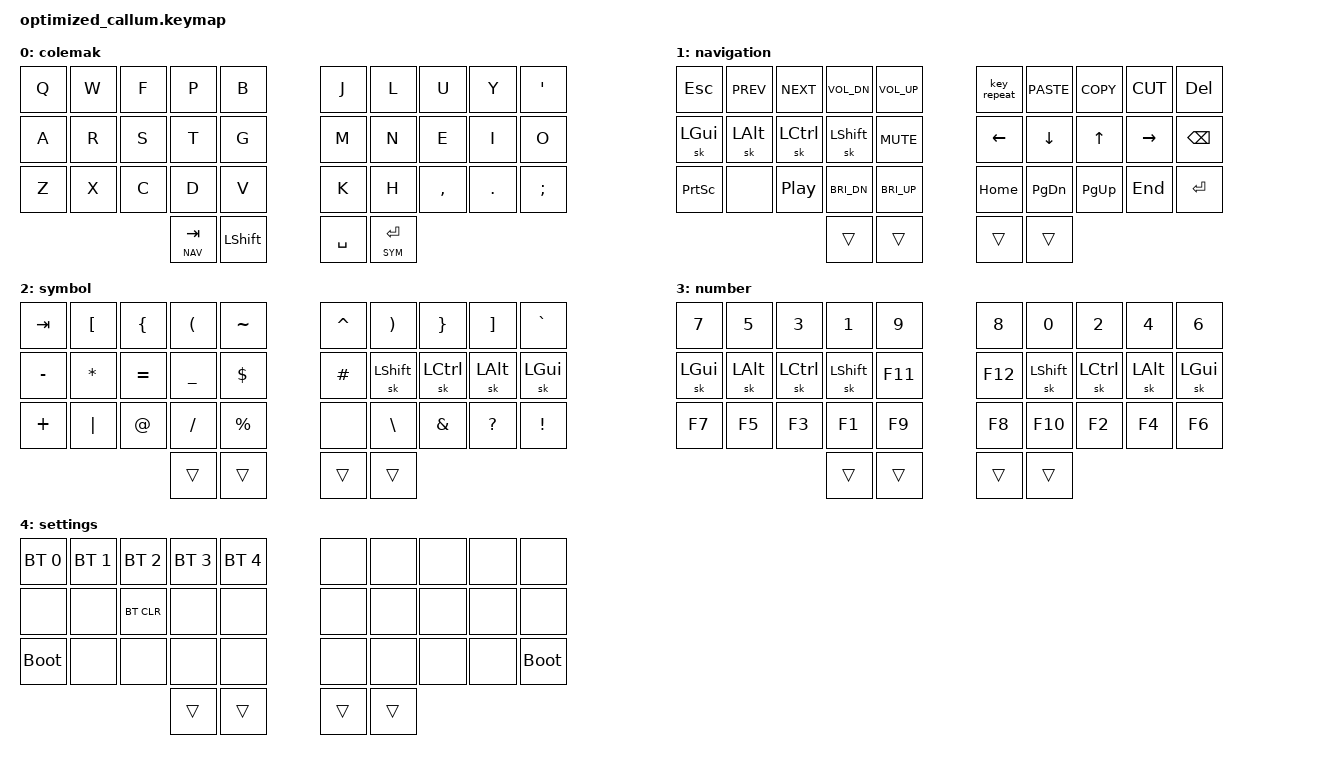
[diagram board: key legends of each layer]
#include <behaviors.dtsi>
#include <dt-bindings/zmk/keys.h>
#include <dt-bindings/zmk/bt.h>
#include <dt-bindings/zmk/outputs.h>

// Define layers
#define DEFAULT 0
#define NAV 1
#define SYM 2
#define NUM 3
#define SETTINGS 4

&sk {
    release-after-ms = <1700>;
};

/ {
    behaviors {
      lt: layer_tap {
            compatible = "zmk,behavior-hold-tap";
            #binding-cells = <2>;
            flavor = "hold-preferred";
            tapping-term-ms = <200>;
            bindings = <&mo>, <&kp>;
            quick-tap-ms = <0>;
            require-prior-idle-ms = <80>;
        };
    };

    combos {
        compatible = "zmk,combos";
        combo_esc {
            timeout-ms = <60>;
            key-positions = <31 32>;
            bindings = <&kp ESC>;
            layers = <0>;
            require-prior-idle-ms = <100>;
        };

        combo_capword{
            timeout-ms = <40>;
            key-positions = <13 16>;
            bindings = <&caps_word>;
            layers = <0>;
            require-prior-idle-ms = <100>;
        };

        combo_settings{
            timeout-ms = <40>;
            key-positions = <32 33>;
            bindings = <&mo SETTINGS>;
            require-prior-idle-ms = <100>;
        };
    };


    keymap {
        compatible = "zmk,keymap";
        colemak {
            bindings = <
                //╭──────────┬──────────┬──────────┬──────────┬──────────╮   ╭──────────┬──────────┬──────────┬──────────┬──────────╮
                //│    Q     │    W     │    F     │    P     │    B     │   │    J     │    L     │    U     │    Y     │    '     │
                    &kp Q      &kp W      &kp F      &kp P      &kp B          &kp J      &kp L     &kp U        &kp Y      &kp SQT 
                //├──────────┼──────────┼──────────┼──────────┼──────────┤   ├──────────┼──────────┼──────────┼──────────┼──────────┤
                //│    A     │    R     │    S     │    T     │    G     │   │    M     │    N     │    E     │    I     │    O     │
                    &kp A      &kp R      &kp S      &kp T      &kp G          &kp M       &kp N      &kp E      &kp I      &kp O
                //├──────────┼──────────┼──────────┼──────────┼──────────┤   ├──────────┼──────────┼──────────┼──────────┼──────────┤
                //│    Z     │    X     │    C     │    D     │    V     │   │    K     │    H     │ , <      │ . >      │    ;     │
                    &kp Z       &kp X      &kp C      &kp D      &kp V         &kp K      &kp H      &kp COMMA  &kp DOT    &kp SEMI
                //╰──────────┴──────────┴──────────┼──────────┼──────────┤   ├──────────┼──────────┼──────────┴──────────┴──────────╯
                                                   &lt NAV TAB &kp LSHFT      &kp SPACE &lt SYM ENTER 
                //                                 ╰──────────┴──────────╯   ╰──────────┴──────────╯
            >;
        };

        
        navigation{
            bindings = <
                //╭──────────┬──────────┬──────────┬──────────┬──────────╮   ╭──────────┬──────────┬──────────┬──────────┬──────────╮
                //│          │          │          │          │          │   │          │          │          │          │          │
                    &kp ESC  &kp C_PREV  &kp C_NEXT &kp C_VOL_DN &kp C_VOL_UP &key_repeat &kp K_PASTE &kp K_COPY &kp K_CUT &kp DEL
                //├──────────┼──────────┼──────────┼──────────┼──────────┤   ├──────────┼──────────┼──────────┼──────────┼──────────┤
                //│          │          │          │          │          │   │   left   │  down    │   up     │  right   │          │
                    &sk LGUI   &sk LALT   &sk LCTRL  &sk LSHFT &kp C_MUTE      &kp LEFT   &kp DOWN   &kp UP     &kp RIGHT  &kp BSPC
                //├──────────┼──────────┼──────────┼──────────┼──────────┤   ├──────────┼──────────┼──────────┼──────────┼──────────┤
                //│          │          │          │          │          │   │          │          │          │          │          │
                    &kp PSCRN   &none    &kp C_PP  &kp C_BRI_DN &kp C_BRI_UP &kp HOME  &kp PG_DN  &kp PG_UP   &kp END   &kp ENTER
                //╰──────────┴──────────┴──────────┼──────────┼──────────┤   ├──────────┼──────────┼──────────┴──────────┴──────────╯
                                                     &trans      &trans         &trans     &trans
            //                                     ╰──────────┴──────────╯   ╰──────────┴──────────╯
            >;
        };

        symbol{
            bindings = <
                //╭──────────┬──────────┬──────────┬──────────┬──────────╮   ╭──────────┬──────────┬──────────┬──────────┬──────────╮
                //│   TAB    │    [     │    {     │    (     │    ~     │   |    ^     │    )     │    }     │    ]     │    `
                    &kp TAB    &kp LBKT   &kp LBRC   &kp LPAR   &kp TILDE     &kp CARET   &kp RPAR   &kp RBRC   &kp RBKT   &kp GRAVE      
                //├──────────┼──────────┼──────────┼──────────┼──────────┤   ├──────────┼──────────┼──────────┼──────────┼──────────┤
                //│    -     │    *     │    =     │    _     │    $     │   │    #     │          │          │          │          │
                   &kp MINUS  &kp ASTRK   &kp EQUAL &kp UNDER  &kp DLLR       &kp HASH  &sk LSHFT  &sk LCTRL  &sk LALT   &sk LGUI
                //├──────────┼──────────┼──────────┼──────────┼──────────┤   ├──────────┼──────────┼──────────┼──────────┼──────────┤
                //│    +     │    |     │    @     │    /     │    %     │   │          │    \     │    &     │    \     │    !     │
                   &kp PLUS    &kp PIPE   &kp AT     &kp SLASH  &kp PERCENT     &none     &kp BSLH  &kp AMPERSAND &kp QMARK &kp EXCL
                //╰──────────┴──────────┴──────────┼──────────┼──────────┤   ├──────────┼──────────┼──────────┴──────────┴──────────╯
                                                     &trans      &trans         &trans     &trans
                //                                 ╰──────────┴──────────╯   ╰──────────┴──────────╯
            >;
        };

        number{
            bindings = <
                //╭──────────┬──────────┬──────────┬──────────┬──────────╮   ╭──────────┬──────────┬──────────┬──────────┬──────────╮
                //│    7     │    5     │    3     │    1     │    9     │   │    8     │    0     │    2     │    4     │    6     │
                     &kp N7     &kp N5     &kp N3     &kp N1     &kp N9         &kp N8     &kp N0     &kp N2     &kp N4    &kp N6
                //├──────────┼──────────┼──────────┼──────────┼──────────┤   ├──────────┼──────────┼──────────┼──────────┼──────────┤
                //│          │          │          │          │   F11    │   │   F12    │          │          │          │          │
                    &sk LGUI   &sk LALT    &sk LCTRL  &sk LSHFT &kp F11       &kp F12     &sk LSHFT  &sk LCTRL  &sk LALT   &sk LGUI
                //├──────────┼──────────┼──────────┼──────────┼──────────┤   ├──────────┼──────────┼──────────┼──────────┼──────────┤
                //│    F7    │    F5    │    F3    │    F1    │    F9    │   │    F8    │   F10    │    F2    │    F4    │    F6    │
                     &kp F7     &kp F5     &kp F3     &kp F1     &kp F9         &kp F8     &kp F10    &kp F2     &kp F4     &kp F6
                //╰──────────┴──────────┴──────────┼──────────┼──────────┤   ├──────────┼──────────┼──────────┴──────────┴──────────╯
                                                     &trans      &trans         &trans     &trans
                //                                 ╰──────────┴──────────╯   ╰──────────┴──────────╯
            >;
        };

           settings {
            bindings = <
                //╭──────────┬──────────┬──────────┬──────────┬──────────╮   ╭──────────┬──────────┬──────────┬──────────┬──────────╮
                //│          │          │          │          │          │   │          │          │          │          │          │
                 &bt BT_SEL 0 &bt BT_SEL 1 &bt BT_SEL 2 &bt BT_SEL 3 &bt BT_SEL 4 &none   &none      &none      &none      &none
                //├──────────┼──────────┼──────────┼──────────┼──────────┤   ├──────────┼──────────┼──────────┼──────────┼──────────┤
                //│          │          │          │          │          │   │          │          │          │          │          │
                     &none      &none   &bt BT_CLR    &none      &none          &none      &none     &none       &none      &none
                //├──────────┼──────────┼──────────┼──────────┼──────────┤   ├──────────┼──────────┼──────────┼──────────┼──────────┤
                //│          │          │          │          │          │   │          │          │          │          │          │
                   &bootloader  &none      &none      &none      &none          &none      &none      &none      &none    &bootloader
                //╰──────────┴──────────┴──────────┼──────────┼──────────┤   ├──────────┼──────────┼──────────┴──────────┴──────────╯
                                                     &trans      &trans         &trans     &trans
                //                                 ╰──────────┴──────────╯   ╰──────────┴──────────╯
            >;
        };
    };

 conditional_layers {
        compatible = "zmk,conditional-layers";
        tri_layer {
            if-layers = <1 2>;
            then-layer = <3>;
        };
    };
};
